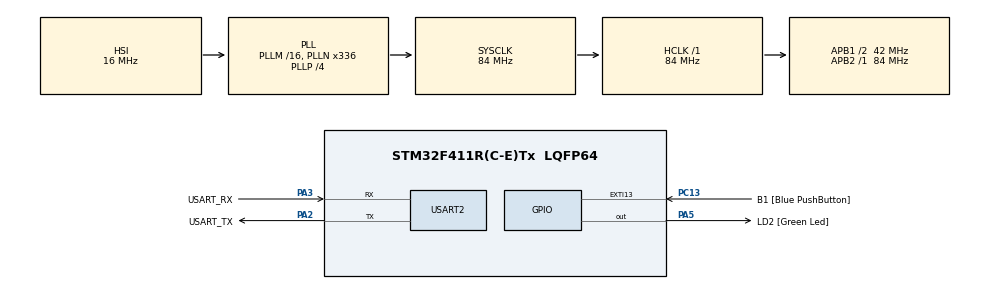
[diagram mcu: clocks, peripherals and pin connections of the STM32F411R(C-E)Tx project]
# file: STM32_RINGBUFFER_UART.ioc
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Mcu.Family=STM32F4
Mcu.Name=STM32F411R(C-E)Tx
Mcu.Package=LQFP64
NVIC.PriorityGroup=NVIC_PRIORITYGROUP_0
NVIC.USART2_IRQn=true\:0\:0\:false\:true\:true\:1\:true\:true\:true
PA13.GPIO_Label=TMS
PA13.Mode=Serial_Wire
PA13.Signal=SYS_JTMS-SWDIO
PA14.GPIO_Label=TCK
PA14.Mode=Serial_Wire
PA14.Signal=SYS_JTCK-SWCLK
PA2.GPIO_Label=USART_TX
PA2.Mode=Asynchronous
PA2.Signal=USART2_TX
PA3.GPIO_Label=USART_RX
PA3.Mode=Asynchronous
PA3.Signal=USART2_RX
PA5.GPIO_Label=LD2 [Green Led]
PA5.Signal=GPIO_Output
PB3.GPIO_Label=SWO
PB3.Signal=SYS_JTDO-SWO
PC13-ANTI_TAMP.GPIO_Label=B1 [Blue PushButton]
PC13-ANTI_TAMP.GPIO_ModeDefaultEXTI=GPIO_MODE_IT_FALLING
PC13-ANTI_TAMP.Signal=GPXTI13
PC14-OSC32_IN.Mode=LSE-External-Oscillator
PC14-OSC32_IN.Signal=RCC_OSC32_IN
PC15-OSC32_OUT.Mode=LSE-External-Oscillator
PC15-OSC32_OUT.Signal=RCC_OSC32_OUT
PH0\ -\ OSC_IN.Mode=HSE-External-Clock-Source
PH0\ -\ OSC_IN.Signal=RCC_OSC_IN
PH1\ -\ OSC_OUT.Mode=HSE-External-Clock-Source
PH1\ -\ OSC_OUT.Signal=RCC_OSC_OUT
ProjectManager.HeapSize=0x200
ProjectManager.StackSize=0x400
ProjectManager.TargetToolchain=Makefile
RCC.48MHZClocksFreq_Value=84000000
RCC.AHBFreq_Value=84000000
RCC.APB1CLKDivider=RCC_HCLK_DIV2
RCC.APB1Freq_Value=42000000
RCC.APB1TimFreq_Value=84000000
RCC.APB2Freq_Value=84000000
RCC.APB2TimFreq_Value=84000000
RCC.CortexFreq_Value=84000000
RCC.FLatency-AdvancedSettings=FLASH_LATENCY_2
RCC.HCLKFreq_Value=84000000
RCC.HSE_VALUE=8000000
RCC.HSI_VALUE=16000000
RCC.PLLN=336
RCC.PLLP=RCC_PLLP_DIV4
RCC.SYSCLKFreq_VALUE=84000000
RCC.SYSCLKSource=RCC_SYSCLKSOURCE_PLLCLK
RCC.VCOOutputFreq_Value=336000000
USART2.VirtualMode=VM_ASYNC
board=NUCLEO-F411RE

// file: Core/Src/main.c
/* USER CODE BEGIN Header */
/**
 ******************************************************************************
 * @file           : main.c
 * @brief          : Main program body
 ******************************************************************************
 * @attention
 *
 * Copyright (c) 2022 STMicroelectronics.
 * All rights reserved.
 *
 * This software is licensed under terms that can be found in the LICENSE file
 * in the root directory of this software component.
 * If no LICENSE file comes with this software, it is provided AS-IS.
 *
 ******************************************************************************
 */
/* USER CODE END Header */
#include "main.h"
#include "usart.h"
#include "gpio.h"

/* USER CODE BEGIN Includes */
#include "ring_buffer.h"
#include "string.h"
/* USER CODE END Includes */

/* USER CODE BEGIN PD */
#define ENDLINE '\n'
/* USER CODE END PD */

/* USER CODE BEGIN PV */
RingBuffer_t ReceiveBuffer;
uint8_t ReceiveTmp;
uint8_t ReceivedLines;
uint8_t ReceivedData[16];
uint8_t i;
uint8_t Tmp;
/* USER CODE END PV */

void SystemClock_Config(void);
static void MX_NVIC_Init(void);
/* USER CODE BEGIN PFP */
void UartLog(char *Message);
/* USER CODE END PFP */

int main(void)
{

  /* MCU Configuration--------------------------------------------------------*/

  /* Reset of all peripherals, Initializes the Flash interface and the Systick. */
  HAL_Init();

  /* Configure the system clock */
  SystemClock_Config();

  /* Initialize all configured peripherals */
  MX_GPIO_Init();
  MX_USART2_UART_Init();

  /* Initialize interrupts */
  MX_NVIC_Init();
  /* USER CODE BEGIN 2 */
  HAL_UART_Receive_IT(&huart2, &ReceiveTmp, 1);
  /* USER CODE END 2 */

  /* Infinite loop */
  /* USER CODE BEGIN WHILE */
  while (1)
  {
    if (ReceivedLines > 0)
    {
      i = 0;
      do
      {
        RB_Read(&ReceiveBuffer, &Tmp);
        if (Tmp == ENDLINE)
        {
          ReceivedData[i] = 0;
        }
        else
        {
          ReceivedData[i] = Tmp;
        }

        i++;
      } while (Tmp != ENDLINE);

      ReceivedLines--;

      // LED_ON
      if (strcmp("LED_ON", (char *)ReceivedData) == 0)
      {
        HAL_GPIO_WritePin(LD2_GPIO_Port, LD2_Pin, GPIO_PIN_SET);
        UartLog("Turn ON LED\n\r");
      }
      else if (strcmp("LED_OFF", (char *)ReceivedData) == 0)
      {
        HAL_GPIO_WritePin(LD2_GPIO_Port, LD2_Pin, GPIO_PIN_RESET);
        UartLog("Turn OFF LED\n\r");
      }

      // LED_OFF
    }
    /* USER CODE END WHILE */

  }
}

void SystemClock_Config(void)
{
  RCC_OscInitTypeDef RCC_OscInitStruct = {0};
  RCC_ClkInitTypeDef RCC_ClkInitStruct = {0};

  /** Configure the main internal regulator output voltage
   */
  __HAL_RCC_PWR_CLK_ENABLE();
  __HAL_PWR_VOLTAGESCALING_CONFIG(PWR_REGULATOR_VOLTAGE_SCALE1);

  /** Initializes the RCC Oscillators according to the specified parameters
   * in the RCC_OscInitTypeDef structure.
   */
  RCC_OscInitStruct.OscillatorType = RCC_OSCILLATORTYPE_HSI;
  RCC_OscInitStruct.HSIState = RCC_HSI_ON;
  RCC_OscInitStruct.HSICalibrationValue = RCC_HSICALIBRATION_DEFAULT;
  RCC_OscInitStruct.PLL.PLLState = RCC_PLL_ON;
  RCC_OscInitStruct.PLL.PLLSource = RCC_PLLSOURCE_HSI;
  RCC_OscInitStruct.PLL.PLLM = 16;
  RCC_OscInitStruct.PLL.PLLN = 336;
  RCC_OscInitStruct.PLL.PLLP = RCC_PLLP_DIV4;
  RCC_OscInitStruct.PLL.PLLQ = 4;
  if (HAL_RCC_OscConfig(&RCC_OscInitStruct) != HAL_OK)
  {
    Error_Handler();
  }

  /** Initializes the CPU, AHB and APB buses clocks
   */
  RCC_ClkInitStruct.ClockType = RCC_CLOCKTYPE_HCLK | RCC_CLOCKTYPE_SYSCLK | RCC_CLOCKTYPE_PCLK1 | RCC_CLOCKTYPE_PCLK2;
  RCC_ClkInitStruct.SYSCLKSource = RCC_SYSCLKSOURCE_PLLCLK;
  RCC_ClkInitStruct.AHBCLKDivider = RCC_SYSCLK_DIV1;
  RCC_ClkInitStruct.APB1CLKDivider = RCC_HCLK_DIV2;
  RCC_ClkInitStruct.APB2CLKDivider = RCC_HCLK_DIV1;

  if (HAL_RCC_ClockConfig(&RCC_ClkInitStruct, FLASH_LATENCY_2) != HAL_OK)
  {
    Error_Handler();
  }
}

/**
 * @brief NVIC Configuration.
 * @retval None
 */
static void MX_NVIC_Init(void)
{
  /* USART2_IRQn interrupt configuration */
  HAL_NVIC_SetPriority(USART2_IRQn, 0, 0);
  HAL_NVIC_EnableIRQ(USART2_IRQn);
}

/* USER CODE BEGIN 4 */
void HAL_UART_RxCpltCallback(UART_HandleTypeDef *huart)
{
  if (huart->Instance == USART2)
  {

    if (RB_OK == RB_Write(&ReceiveBuffer, ReceiveTmp))
    {
      if (ReceiveTmp == ENDLINE)
      {
        ReceivedLines++;
      }
    }

    HAL_UART_Receive_IT(&huart2, &ReceiveTmp, 1);
  }
}

void UartLog(char *Message)
{
  HAL_UART_Transmit(&huart2, (uint8_t *)Message, strlen(Message), 10);
}
/* USER CODE END 4 */

void Error_Handler(void)
{
  __disable_irq();
  while (1)
  {
  }
}
